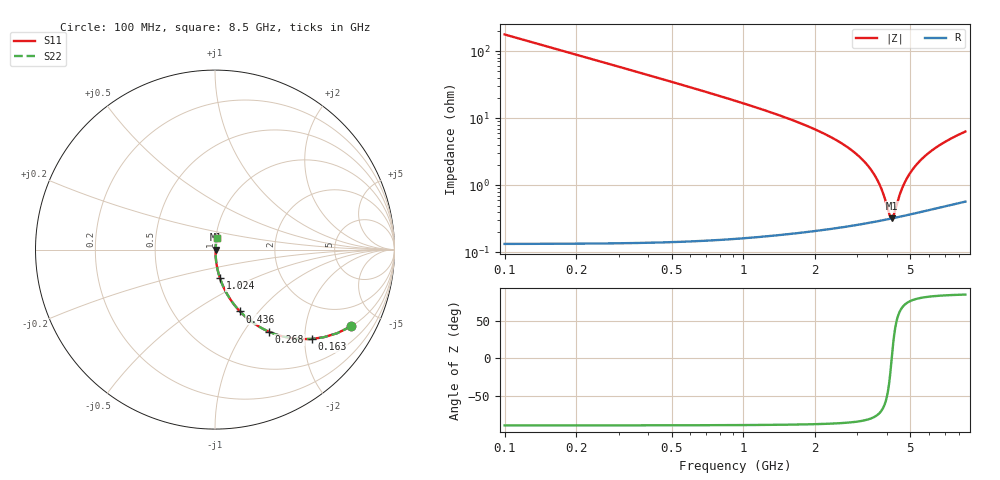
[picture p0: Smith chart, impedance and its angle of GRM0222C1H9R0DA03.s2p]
!Murata Part Number: GRM0222C1H9R0DA03
!These Parameters are Measured in Series Mode Connection
!Data Generated on Mar 30, 2021
!  o--ll--o
!Port1  Port2
!  o------o
!Operation Temp=25[degC], DC Bias Voltage=0[V]
!Freq. Start=100[MHz] Stop=9[GHz] 401[Steps]
# Hz S RI R 50
!Freq.(Hz) S11(Real) S11(Imag) S21(Real) S21(Imag) S12(Real) S12(Imag) S22(Real) S22(Imag)
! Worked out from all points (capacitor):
!   401 points, 100 MHz to 8.5 GHz, reference 50 ohm
!   read as one part in series: C = 9 pF near 142 MHz
!   lowest |Z| = 321 mohm at 4.174 GHz (marker M1)
!   series resonance near 4.179 GHz, so ESL is about 160 pH
!   S11 on the Smith chart (normalised r, x): 100 MHz: 1.00, -3.53; 163 MHz: 1.00, -2.17; 268 MHz: 1.00, -1.31; 436 MHz: 1.00, -0.80; 1.024 GHz: 1.00, -0.32; 8.5 GHz: 1.01, +0.13
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1e8  0.7573 -0.4283  0.2427 0.4283  0.2427 0.4283  0.7573 -0.4283
1.63e8  0.5398 -0.4978  0.4602 0.4978  0.4602 0.4978  0.5398 -0.4978
2.68e8  0.3019 -0.458  0.6981 0.458  0.6981 0.458  0.3019 -0.458
3.52e8  0.1998 -0.3985  0.8002 0.3985  0.8002 0.3985  0.1998 -0.3985
4.36e8  0.1394 -0.3446  0.8606 0.3446  0.8606 0.3446  0.1394 -0.3446
6.67e8  0.0637 -0.2413  0.9363 0.2413  0.9363 0.2413  0.0637 -0.2413
1.024e9  0.0271 -0.1573  0.9729 0.1573  0.9729 0.1573  0.0271 -0.1573
1.507e9  0.012 -0.1003  0.988 0.1003  0.988 0.1003  0.012 -0.1003
2.914e9  0.00347 -0.0307  0.9965 0.0307  0.9965 0.0307  0.00347 -0.0307
3.313e9  0.00311 -0.0195  0.9969 0.0195  0.9969 0.0195  0.00311 -0.0195
3.607e9  0.00303 -0.0123  0.997 0.0123  0.997 0.0123  0.00303 -0.0123
3.838e9  0.00306 -0.00707  0.9969 0.00707  0.9969 0.00707  0.00306 -0.00707
4.09e9  0.00315 -0.00178  0.9968 0.00178  0.9968 0.00178  0.00315 -0.00178
4.174e9  0.00319 -9.25e-05  0.9968 9.25e-05  0.9968 9.25e-05  0.00319 -9.25e-05
4.3e9  0.00327 0.00237  0.9967 -0.00237  0.9967 -0.00237  0.00327 0.00237
4.552e9  0.00346 0.00708  0.9965 -0.00708  0.9965 -0.00708  0.00346 0.00708
4.825e9  0.00371 0.0119  0.9963 -0.0119  0.9963 -0.0119  0.00371 0.0119
5.203e9  0.00412 0.0182  0.9959 -0.0182  0.9959 -0.0182  0.00412 0.0182
5.707e9  0.00477 0.026  0.9952 -0.026  0.9952 -0.026  0.00477 0.026
6.337e9  0.00569 0.035  0.9943 -0.035  0.9943 -0.035  0.00569 0.035
7.114e9  0.00698 0.0453  0.993 -0.0453  0.993 -0.0453  0.00698 0.0453
8.5e9  0.00957 0.062  0.9904 -0.062  0.9904 -0.062  0.00957 0.062
